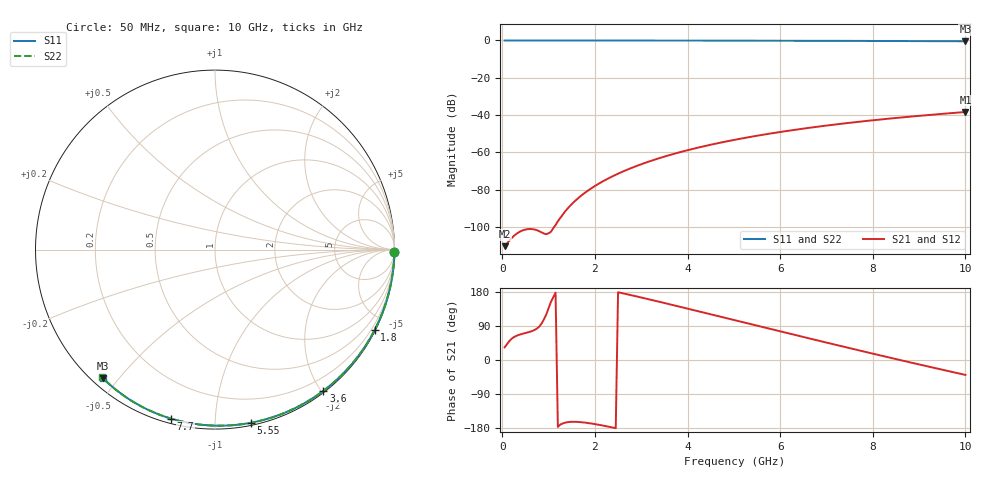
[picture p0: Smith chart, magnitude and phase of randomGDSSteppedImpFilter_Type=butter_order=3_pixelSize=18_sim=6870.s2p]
! freq	dB(S11)	phase(S11)	dB(S12)	phase(S12)
!  dB(S21)	phase(S21)	dB(S22)	phase(S22)
!S-par simulation data
#  GHz  S  DB  R 50
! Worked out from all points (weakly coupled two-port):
!   200 points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, 50 MHz to 10 GHz, reference 50 ohm
!   highest |S21| = -38.37 dB at 10 GHz (marker M1); lowest = -110.3 dB at 50 MHz (marker M2)
!   lowest |S11| = -0.4 dB at 10 GHz (marker M3), VSWR 38.85, Z = 1.55 - j22.8 ohm
!   |S11| at or under -10 dB: nowhere
!   |S22| runs from -0.4 to 0.0 dB; largest |S21 - S12| = 0
!   S11 on the Smith chart (normalised r, x): 50 MHz: open; 1.8 GHz: 0.04, -4.19; 3.6 GHz: 0.02, -2.03; 5.55 GHz: 0.02, -1.23; 7.7 GHz: 0.02, -0.77; 10 GHz: 0.03, -0.46
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0.05  -0.00 -0.8  -110.34 33.3  -110.34 33.3  -0.00 -0.8
0.9  -0.02 -13.5  -103.57 107.6  -103.57 107.6  -0.02 -13.6
1.75  -0.03 -26.1  -82.34 -164.7  -82.34 -164.7  -0.03 -26.3
1.8  -0.03 -26.8  -81.41 -165.4  -81.41 -165.4  -0.03 -27.0
1.85  -0.04 -27.6  -80.52 -166.3  -80.52 -166.3  -0.04 -27.7
1.9  -0.04 -28.3  -79.67 -167.2  -79.67 -167.2  -0.04 -28.5
2.05  -0.04 -30.5  -77.30 -170.2  -77.30 -170.2  -0.04 -30.7
2.25  -0.04 -33.4  -74.51 -174.8  -74.51 -174.8  -0.04 -33.6
2.45  -0.05 -36.3  -72.03 -179.9  -72.03 -179.9  -0.05 -36.5
2.65  -0.05 -39.1  -69.81 174.8  -69.81 174.8  -0.05 -39.3
3  -0.06 -44.1  -66.40 165.0  -66.40 165.0  -0.06 -44.3
3.4  -0.07 -49.7  -63.06 153.4  -63.06 153.4  -0.07 -50.0
3.6  -0.07 -52.5  -61.56 147.5  -61.56 147.5  -0.07 -52.8
4.3  -0.09 -62.0  -57.05 126.6  -57.05 126.6  -0.09 -62.4
5.05  -0.11 -72.0  -53.13 104.0  -53.13 104.0  -0.11 -72.3
5.55  -0.13 -78.4  -50.90 89.1  -50.90 89.1  -0.13 -78.8
6.1  -0.15 -85.3  -48.72 72.6  -48.72 72.6  -0.15 -85.8
6.7  -0.18 -92.7  -46.61 54.8  -46.61 54.8  -0.18 -93.2
7.7  -0.24 -104.7  -43.61 25.5  -43.61 25.5  -0.24 -105.3
8.35  -0.29 -112.3  -41.94 6.7  -41.94 6.7  -0.29 -112.9
9.15  -0.36 -121.4  -40.11 -15.9  -40.11 -15.9  -0.36 -122.0
10  -0.45 -131.0  -38.37 -39.3  -38.37 -39.3  -0.45 -131.7
